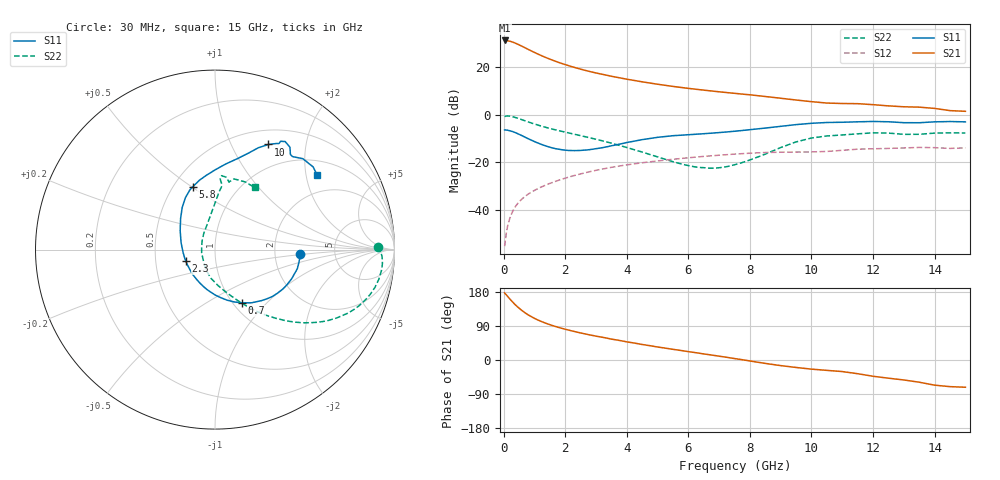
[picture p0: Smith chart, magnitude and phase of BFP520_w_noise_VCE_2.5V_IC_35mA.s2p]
! Infineon Technologies  Discrete & RF Semiconductors
! BFP520
! VCE =  2.5 V,  IC =  35 mA
! Common Emitter S-Parameters:  Oct 2015
# GHz  S  MA  R  50
!  f  S11  S21  S12  S22
! GHz  MAG  ANG  MAG  ANG  MAG  ANG  MAG  ANG
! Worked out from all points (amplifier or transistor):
!   109 points, 30 MHz to 15 GHz, reference 50 ohm
!   highest |S21| = 31.2 dB at 30 MHz (marker M1)
!   |S21| within 3 dB of that: start of sweep to 680.3 MHz
!   unconditionally stable (mu >= 1): start of sweep to 33.03 MHz; 2.37 GHz to end of sweep
!   at 450 MHz: K = 0.43, MSG = 33.6 dB, |S12| = -37.5 dB
!   at 4 GHz: K = 1.12, MAG = 15.9 dB, |S12| = -21.1 dB
!   at 15 GHz: K = 1.25, MAG = 4.7 dB, |S12| = -14.0 dB
!   lowest NFmin = 2.65 dB at 900 MHz
!   S11 on the Smith chart (normalised r, x): 30 MHz: 2.81, -0.19; 700 MHz: 1.10, -0.74; 2.3 GHz: 0.71, -0.09; 5.8 GHz: 0.62, +0.50; 10 GHz: 0.68, +1.40; 15 GHz: 1.42, +2.32
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0.03  0.4768 -3.1  36.4 177.1  0.0017 106.9  0.9058 1.0
0.14  0.4675 -14.8  35.77 166.7  0.0048 84.9  0.9353 -6.6
0.25  0.4469 -25.7  34.34 156.5  0.008 80.3  0.9152 -13.4
0.35  0.4243 -35.0  32.52 148.0  0.0108 77.7  0.8811 -18.8
0.45  0.3982 -43.6  30.47 140.2  0.0133 75.4  0.8413 -23.5
0.5  0.3849 -47.6  29.41 136.8  0.0146 74.5  0.8202 -25.6
0.6  0.3593 -55.6  27.37 130.1  0.0169 72.9  0.7781 -29.3
0.7  0.3335 -62.9  25.39 124.2  0.0191 71.7  0.738 -32.6
0.8  0.3101 -70.0  23.54 118.9  0.0213 70.7  0.7007 -35.3
1  0.2705 -82.9  20.37 109.9  0.0254 69.1  0.6344 -40.0
1.3  0.2268 -101.4  16.64 99.2  0.0315 67.2  0.5552 -45.4
1.7  0.191 -125.3  13.14 88.0  0.0397 65.0  0.4749 -51.2
2.3  0.1746 -159.1  9.856 75.2  0.0523 61.0  0.3861 -58.4
2.6  0.1783 -174.3  8.703 69.6  0.0586 58.7  0.3485 -61.9
3.5  0.2206 151.6  6.413 55.1  0.0777 50.8  0.2503 -74.6
5.1  0.3378 118.3  4.269 33.1  0.1076 35.8  0.1229 -113.6
5.8  0.3699 109.8  3.704 24.6  0.1199 29.4  0.0905 -134.9
7.6  0.453 88.0  2.765 2.6  0.1487 12.1  0.0915 139.5
10  0.6567 63.1  1.873 -24.1  0.1641 -9.5  0.3216 86.0
10.5  0.6824 60.0  1.752 -27.4  0.1677 -11.8  0.3552 83.9
13  0.6762 51.6  1.462 -52.7  0.1988 -33.4  0.3842 78.2
15  0.7039 36.0  1.174 -71.9  0.1992 -49.9  0.4105 57.5
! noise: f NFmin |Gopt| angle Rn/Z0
0.45  2.66  0.09  -142  0.28
0.9  2.65  0.1  -137  0.31
1.9  2.82  0.14  -118  0.32
2.4  2.81  0.16  -115  0.31
3.5  2.77  0.17  -104  0.35
